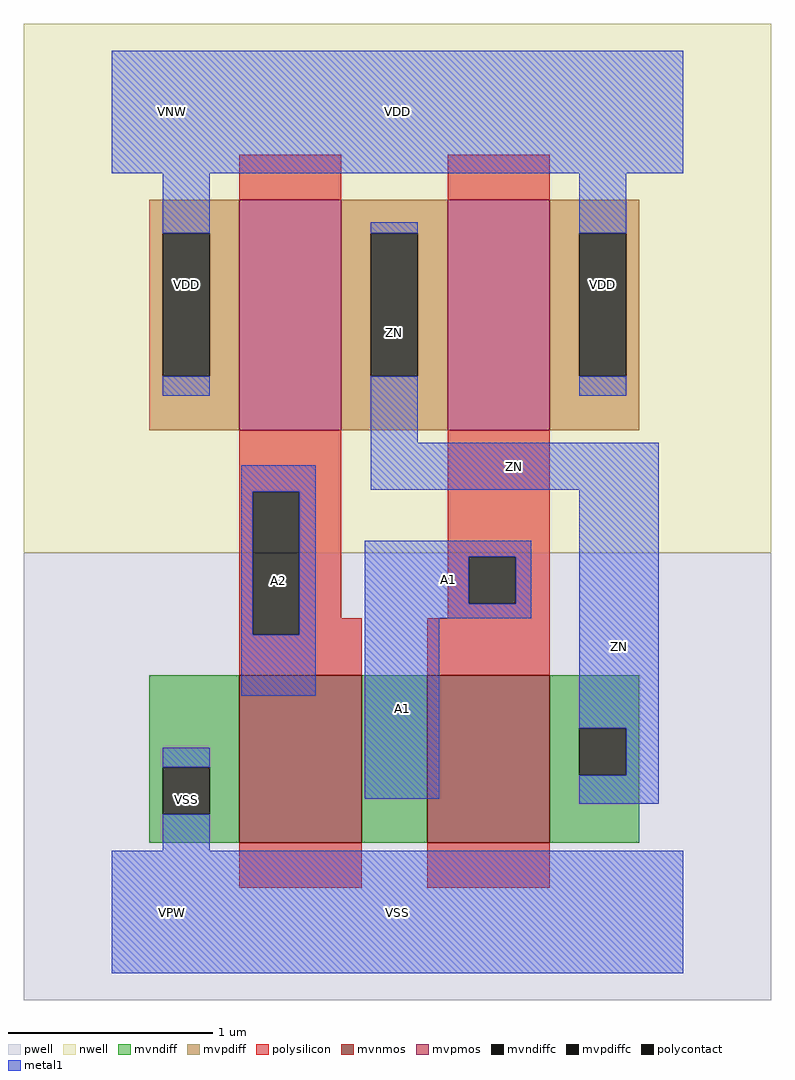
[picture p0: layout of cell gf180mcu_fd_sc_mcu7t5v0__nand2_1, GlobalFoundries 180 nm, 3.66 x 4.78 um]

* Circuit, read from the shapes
.subckt gf180mcu_fd_sc_mcu7t5v0__nand2_1 A1 A2 ZN VDD VNW VPW VSS
XM1 n1 A2 VSS VPW nfet_06v0 w=0.82u l=0.6u
XM2 ZN A1 n1 VPW nfet_06v0 w=0.82u l=0.6u
XM3 ZN A2 VDD VNW pfet_06v0 w=1.13u l=0.5u
XM4 VDD A1 ZN VNW pfet_06v0 w=1.13u l=0.5u
.ends

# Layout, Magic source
magic
tech gf180mcuD
magscale 1 10
<< nwell >>
rect -86 352 646 870
<< pwell >>
rect -86 -86 646 352
<< mvnmos >>
rect 125 68 245 232
rect 309 68 429 232
<< mvpmos >>
rect 125 472 225 698
rect 329 472 429 698
<< mvndiff >>
rect 37 142 125 232
rect 37 96 50 142
rect 96 96 125 142
rect 37 68 125 96
rect 245 68 309 232
rect 429 180 517 232
rect 429 134 458 180
rect 504 134 517 180
rect 429 68 517 134
<< mvpdiff >>
rect 37 665 125 698
rect 37 525 50 665
rect 96 525 125 665
rect 37 472 125 525
rect 225 665 329 698
rect 225 525 254 665
rect 300 525 329 665
rect 225 472 329 525
rect 429 665 517 698
rect 429 525 458 665
rect 504 525 517 665
rect 429 472 517 525
<< mvndiffc >>
rect 50 96 96 142
rect 458 134 504 180
<< mvpdiffc >>
rect 50 525 96 665
rect 254 525 300 665
rect 458 525 504 665
<< polysilicon >>
rect 125 698 225 742
rect 329 698 429 742
rect 125 412 225 472
rect 125 272 138 412
rect 184 288 225 412
rect 329 348 429 472
rect 329 302 350 348
rect 396 302 429 348
rect 329 288 429 302
rect 184 272 245 288
rect 125 232 245 272
rect 309 232 429 288
rect 125 24 245 68
rect 309 24 429 68
<< polycontact >>
rect 138 272 184 412
rect 350 302 396 348
<< metal1 >>
rect 0 724 560 844
rect 50 665 96 724
rect 50 506 96 525
rect 254 665 300 676
rect 254 460 300 525
rect 458 665 504 724
rect 458 506 504 525
rect 127 412 200 438
rect 254 414 536 460
rect 127 272 138 412
rect 184 272 200 412
rect 127 212 200 272
rect 248 348 411 364
rect 248 302 350 348
rect 396 302 411 348
rect 248 288 411 302
rect 50 142 96 161
rect 248 111 321 288
rect 458 180 536 414
rect 504 134 536 180
rect 458 106 536 134
rect 50 60 96 96
rect 0 -60 560 60
<< labels >>
flabel metal1 s 0 724 560 844 0 FreeSans 400 0 0 0 VDD
port 4 nsew power bidirectional abutment
flabel metal1 s 50 60 96 161 0 FreeSans 400 0 0 0 VSS
port 7 nsew ground bidirectional abutment
flabel metal1 s 254 460 300 676 0 FreeSans 400 0 0 0 ZN
port 3 nsew default output
flabel metal1 s 248 288 411 364 0 FreeSans 400 0 0 0 A1
port 1 nsew default input
flabel metal1 s 127 212 200 438 0 FreeSans 400 0 0 0 A2
port 2 nsew default input
flabel nwell s 10 734 110 834 0 FreeSans 400 0 0 0 VNW
port 5 nsew power bidirectional
flabel pwell s 10 -50 110 50 0 FreeSans 400 0 0 0 VPW
port 6 nsew ground bidirectional
rlabel metal1 s 248 111 321 288 1 A1
port 1 nsew default input
rlabel metal1 s 254 414 536 460 1 ZN
port 3 nsew default output
rlabel metal1 s 458 106 536 414 1 ZN
port 3 nsew default output
rlabel metal1 s 458 506 504 724 1 VDD
port 4 nsew power bidirectional abutment
rlabel metal1 s 50 506 96 724 1 VDD
port 4 nsew power bidirectional abutment
rlabel metal1 s 0 -60 560 60 1 VSS
port 7 nsew ground bidirectional abutment
<< properties >>
string FIXED_BBOX 0 0 560 784
string GDS_END 701436
string GDS_FILE $PDKPATH/libs.ref/gf180mcu_fd_sc_mcu7t5v0/gds/gf180mcu_fd_sc_mcu7t5v0.gds
string GDS_START 698762
string LEFclass core
string LEFsite GF018hv5v_mcu_sc7
string LEFsymmetry X Y
string MASKHINTS_DUALGATE -56 822 616 840 -56 746 45 822 509 746 616 822 -56 424 -11 746 565 424 616 746 -56 280 45 424 509 280 616 424 -56 20 -11 280 565 20 616 280 -56 -56 45 20 509 -56 616 20
string MASKHINTS_NPLUS -40 278 600 352 -40 264 79 278 475 264 600 278 -40 36 5 264 549 36 600 264 -40 22 79 36 475 22 600 36 -40 -40 600 22
string MASKHINTS_PPLUS -40 744 600 824 -40 730 79 744 475 730 600 744 -40 440 5 730 549 440 600 730 -40 426 79 440 475 426 600 440 -40 352 600 426
<< end >>
